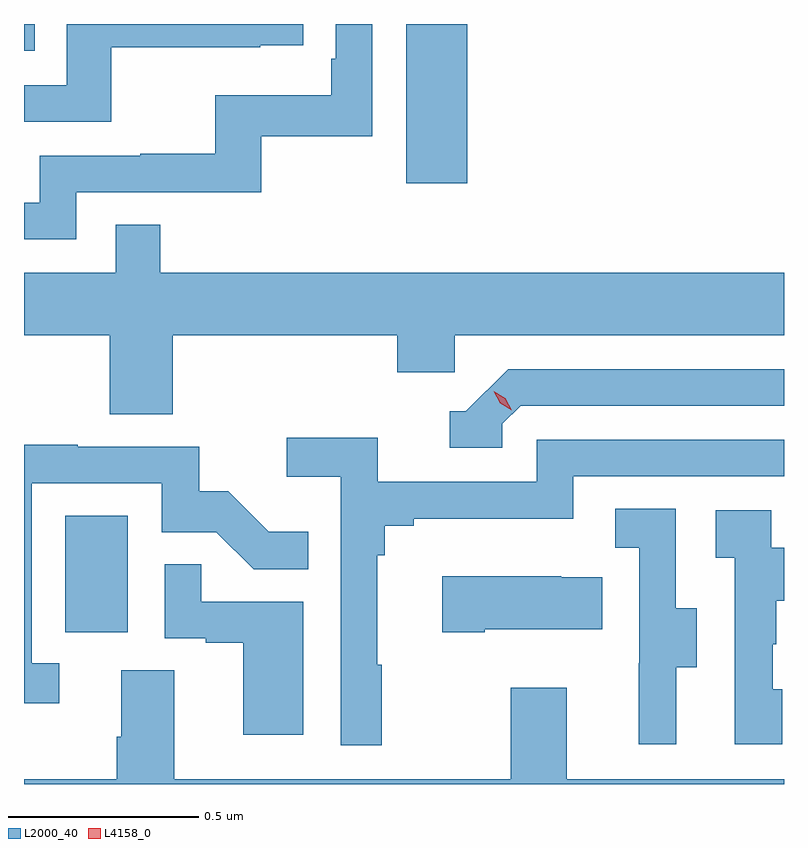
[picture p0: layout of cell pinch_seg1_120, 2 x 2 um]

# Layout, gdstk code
import gdstk
lib = gdstk.Library(unit=1e-6, precision=1e-09)
def R(c, l, rs):  # rectangles x0, y0, x1, y1
    for r in rs: c.add(gdstk.rectangle(r[:2], r[2:], *l))
def P(c, l, *ps):  # polygons
    for p in ps: c.add(gdstk.Polygon(p, *l))
L2000_40 = (2000, 40)
L4158_0 = (4158, 0)

pinch_seg1_120 = lib.new_cell('pinch_seg1_120')
R(pinch_seg1_120, L2000_40, [(1067.75,561.606,1067.914,561.913), (1068.647,562.788,1068.808,563.207), (1067.641,563.136,1067.669,563.207)])
P(pinch_seg1_120, L2000_40, [(1067.778,562.764),(1068.265,562.764),(1068.265,562.911),(1068.558,562.911),(1068.558,563.207),(1068.462,563.207),(1068.462,563.116),(1068.449,563.116),(1068.449,563.02),(1068.144,563.02),(1068.144,562.865),(1067.947,562.865),(1067.947,562.86),(1067.682,562.86),(1067.682,562.737),(1067.641,562.737),(1067.641,562.641),(1067.778,562.641)],
  [(1067.87,563.146),(1068.263,563.146),(1068.263,563.151),(1068.376,563.151),(1068.376,563.207),(1067.754,563.207),(1067.754,563.046),(1067.641,563.046),(1067.641,562.95),(1067.87,562.95)],
  [(1068.032,562.388),(1068.623,562.388),(1068.623,562.29),(1068.774,562.29),(1068.774,562.388),(1069.641,562.388),(1069.641,562.552),(1067.999,562.552),(1067.999,562.679),(1067.883,562.679),(1067.883,562.552),(1067.641,562.552),(1067.641,562.388),(1067.867,562.388),(1067.867,562.18),(1068.032,562.18)],
  [(1068.9,562.155),(1068.948,562.203),(1069.641,562.203),(1069.641,562.299),(1068.915,562.299),(1068.804,562.188),(1068.761,562.188),(1068.761,562.092),(1068.9,562.092)],
  [(1068.583,561.521),(1068.571,561.521),(1068.571,561.809),(1068.59,561.809),(1068.59,561.886),(1068.667,561.886),(1068.667,561.905),(1069.086,561.905),(1069.086,562.017),(1069.641,562.017),(1069.641,562.113),(1068.99,562.113),(1068.99,562.002),(1068.572,562.002),(1068.572,562.118),(1068.333,562.118),(1068.333,562.016),(1068.474,562.016),(1068.474,561.309),(1068.583,561.309)],
  [(1067.734,561.525),(1067.661,561.525),(1067.661,561.999),(1068.003,561.999),(1068.003,561.87),(1068.147,561.87),(1068.245,561.772),(1068.389,561.772),(1068.389,561.871),(1068.285,561.871),(1068.178,561.978),(1068.102,561.978),(1068.102,562.095),(1067.783,562.095),(1067.783,562.1),(1067.641,562.1),(1067.641,561.42),(1067.734,561.42)],
  [(1069.357,561.514),(1069.411,561.514),(1069.411,561.669),(1069.356,561.669),(1069.356,561.932),(1069.197,561.932),(1069.197,561.829),(1069.26,561.829),(1069.26,561.525),(1069.259,561.525),(1069.259,561.312),(1069.357,561.312)],
  [(1069.636,561.456),(1069.611,561.456),(1069.611,561.575),(1069.621,561.575),(1069.621,561.689),(1069.641,561.689),(1069.641,561.829),(1069.608,561.829),(1069.608,561.927),(1069.461,561.927),(1069.461,561.803),(1069.512,561.803),(1069.512,561.312),(1069.636,561.312)],
  [(1068.376,561.687),(1068.107,561.687),(1068.107,561.785),(1068.012,561.785),(1068.012,561.591),(1068.119,561.591),(1068.119,561.579),(1068.218,561.579),(1068.218,561.336),(1068.376,561.336)],
  [(1068.853,561.614),(1069.163,561.614),(1069.163,561.751),(1069.055,561.751),(1069.055,561.754),(1068.741,561.754),(1068.741,561.607),(1068.853,561.607)],
  [(1069.641,561.22),(1069.069,561.22),(1069.069,561.46),(1068.922,561.46),(1068.922,561.22),(1068.037,561.22),(1068.037,561.506),(1067.897,561.506),(1067.897,561.332),(1067.885,561.332),(1067.885,561.22),(1067.641,561.22),(1067.641,561.207),(1069.641,561.207)])
P(pinch_seg1_120, L4158_0, [(1068.925,562.19),(1068.894,562.209),(1068.877,562.241),(1068.877,562.241),(1068.877,562.241),(1068.908,562.222),(1068.925,562.19),(1068.925,562.19)])

lib.write_gds('pinch_seg1_120.gds')
